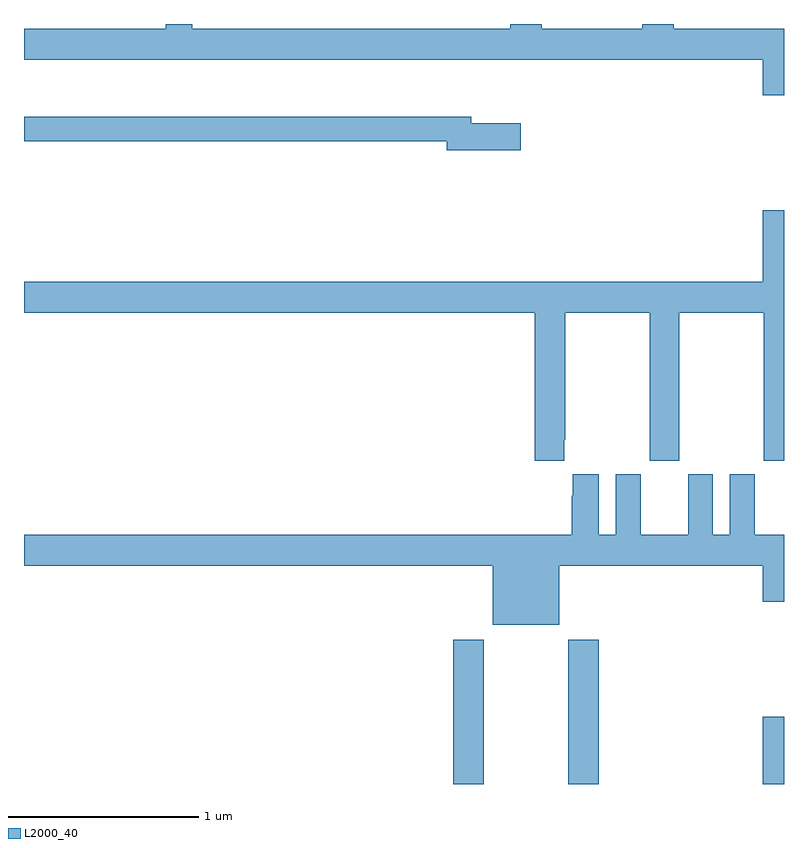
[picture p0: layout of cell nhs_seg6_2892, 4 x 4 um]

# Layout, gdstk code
import gdstk
lib = gdstk.Library(unit=1e-6, precision=1e-09)
def R(c, l, rs):  # rectangles x0, y0, x1, y1
    for r in rs: c.add(gdstk.rectangle(r[:2], r[2:], *l))
def P(c, l, *ps):  # polygons
    for p in ps: c.add(gdstk.Polygon(p, *l))
L2000_40 = (2000, 40)

nhs_seg6_2892 = lib.new_cell('nhs_seg6_2892')
R(nhs_seg6_2892, L2000_40, [(283.259,967.5,283.419,968.26), (283.864,967.5,284.024,968.26), (284.888,967.5,285,967.855)])
P(nhs_seg6_2892, L2000_40, [(285,971.476),(284.42,971.476),(284.42,971.5),(284.255,971.5),(284.255,971.476),(283.724,971.476),(283.724,971.5),(283.559,971.5),(283.559,971.476),(281.886,971.476),(281.886,971.5),(281.747,971.5),(281.747,971.476),(281,971.476),(281,971.312),(284.888,971.312),(284.888,971.124),(285,971.124)],
  [(283.615,970.977),(283.354,970.977),(283.354,971.011),(281,971.011),(281,970.882),(283.226,970.882),(283.226,970.835),(283.615,970.835)],
  [(283.843,969.313),(283.848,969.313),(283.848,969.98),(284.293,969.98),(284.293,969.201),(284.448,969.201),(284.448,969.98),(284.893,969.98),(284.893,969.201),(285,969.201),(285,970.519),(284.888,970.519),(284.888,970.144),(281,970.144),(281,969.98),(283.688,969.98),(283.688,969.201),(283.843,969.201)],
  [(283.816,968.648),(284.888,968.648),(284.888,968.46),(285,968.46),(285,968.812),(284.845,968.812),(284.845,969.13),(284.714,969.13),(284.714,968.812),(284.626,968.812),(284.626,969.13),(284.495,969.13),(284.495,968.812),(284.245,968.812),(284.245,969.13),(284.114,969.13),(284.114,968.812),(284.026,968.812),(284.026,969.13),(283.889,969.13),(283.889,969.017),(283.883,969.017),(283.883,968.812),(281,968.812),(281,968.648),(283.466,968.648),(283.466,968.339),(283.816,968.339)])

lib.write_gds('nhs_seg6_2892.gds')
